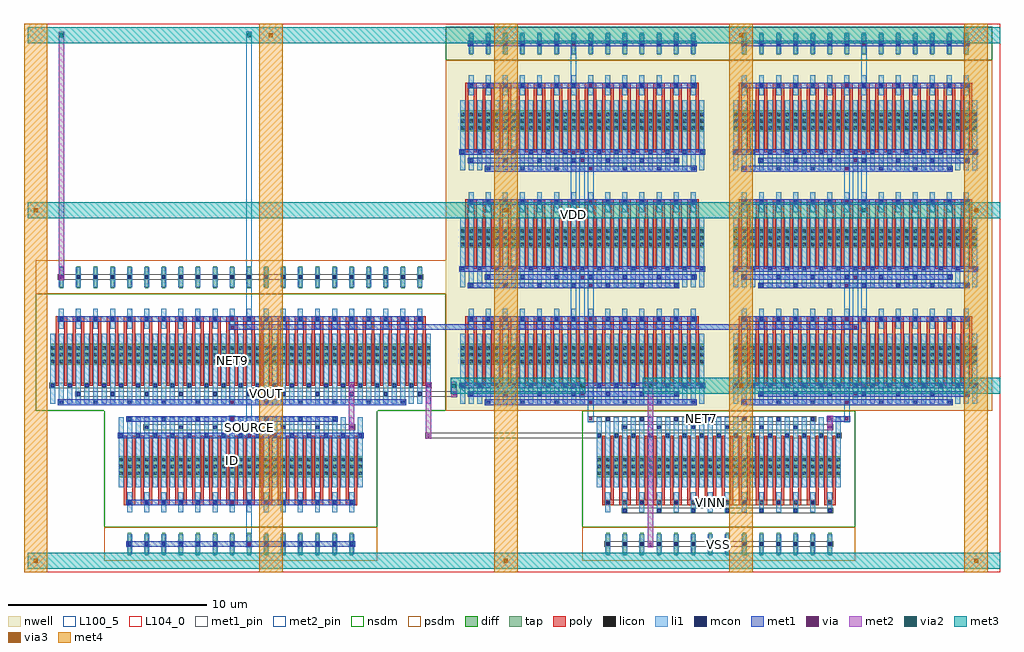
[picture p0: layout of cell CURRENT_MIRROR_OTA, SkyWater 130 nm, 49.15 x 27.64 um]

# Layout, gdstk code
import gdstk
lib = gdstk.Library(unit=1e-6, precision=1e-09)
def R(c, l, rs):  # rectangles x0, y0, x1, y1
    for r in rs: c.add(gdstk.rectangle(r[:2], r[2:], *l))
def A(c, l, x, y, w, h, nx, ny, dx, dy):  # array of equal rectangles
    R(c, l, [(x+i*dx, y+j*dy, x+i*dx+w, y+j*dy+h) for i in range(nx) for j in range(ny)])
nwell = (64, 20)
diff = (65, 20)
tap = (65, 44)
poly = (66, 20)
licon = (66, 44)
li1 = (67, 20)
mcon = (67, 44)
met1_pin = (68, 16)
met1 = (68, 20)
via = (68, 44)
met2_pin = (69, 16)
met2 = (69, 20)
via2 = (69, 44)
met3 = (70, 20)
via3 = (70, 44)
met4 = (71, 20)
nsdm = (93, 44)
psdm = (94, 20)
L100_5 = (100, 5)
L104_0 = (104, 0)

current_mirror_ota = lib.new_cell('CURRENT_MIRROR_OTA')
R(current_mirror_ota, nwell, [(20.64,7.56,34.4,26.88), (34.4,7.56,48.16,26.88)])
A(current_mirror_ota, diff, 21.375, 9.87, 12.29, 1.05, 1, 3, 0, 5.88)
A(current_mirror_ota, diff, 35.135, 9.87, 12.29, 1.05, 1, 3, 0, 5.88)
R(current_mirror_ota, diff, [(4.175,4.2,16.465,5.25), (28.255,4.2,40.545,5.25), (0.735,9.87,19.905,10.92)])
A(current_mirror_ota, tap, 4.645, 0.28, 0.17, 1.12, 14, 1, 0.86, 0)
A(current_mirror_ota, tap, 28.725, 0.28, 0.17, 1.12, 14, 1, 0.86, 0)
A(current_mirror_ota, tap, 1.205, 13.72, 0.17, 1.12, 22, 1, 0.86, 0)
A(current_mirror_ota, tap, 21.845, 25.48, 0.17, 1.12, 14, 1, 0.86, 0)
A(current_mirror_ota, tap, 35.605, 25.48, 0.17, 1.12, 14, 1, 0.86, 0)
A(current_mirror_ota, poly, 4.44, 2.805, 0.58, 0.27, 14, 1, 0.86, 0)
A(current_mirror_ota, poly, 28.52, 2.805, 0.58, 0.27, 14, 1, 0.86, 0)
A(current_mirror_ota, poly, 4.44, 2.94, 0.15, 3.36, 28, 1, 0.43, 0)
A(current_mirror_ota, poly, 28.52, 2.94, 0.15, 3.36, 28, 1, 0.43, 0)
A(current_mirror_ota, poly, 1, 8.82, 0.15, 3.36, 44, 1, 0.43, 0)
A(current_mirror_ota, poly, 21.64, 8.82, 0.15, 3.36, 28, 3, 0.43, 5.88)
A(current_mirror_ota, poly, 35.4, 8.82, 0.15, 3.36, 28, 3, 0.43, 5.88)
A(current_mirror_ota, poly, 1, 12.045, 0.58, 0.27, 22, 1, 0.86, 0)
A(current_mirror_ota, poly, 21.64, 12.045, 0.58, 0.27, 14, 3, 0.86, 5.88)
A(current_mirror_ota, poly, 35.4, 12.045, 0.58, 0.27, 14, 3, 0.86, 5.88)
A(current_mirror_ota, licon, 4.645, 0.755, 0.17, 0.17, 14, 2, 0.86, 2.1)
A(current_mirror_ota, licon, 28.725, 0.755, 0.17, 0.17, 14, 2, 0.86, 2.1)
A(current_mirror_ota, licon, 4.215, 4.32, 0.17, 0.17, 3, 3, 0.43, 0.34)
A(current_mirror_ota, licon, 5.075, 4.32, 0.17, 0.17, 3, 3, 0.43, 0.34)
A(current_mirror_ota, licon, 5.935, 4.32, 0.17, 0.17, 3, 3, 0.43, 0.34)
A(current_mirror_ota, licon, 6.795, 4.32, 0.17, 0.17, 3, 3, 0.43, 0.34)
A(current_mirror_ota, licon, 7.655, 4.32, 0.17, 0.17, 3, 3, 0.43, 0.34)
A(current_mirror_ota, licon, 8.515, 4.32, 0.17, 0.17, 3, 3, 0.43, 0.34)
A(current_mirror_ota, licon, 9.375, 4.32, 0.17, 0.17, 3, 3, 0.43, 0.34)
A(current_mirror_ota, licon, 10.235, 4.32, 0.17, 0.17, 3, 3, 0.43, 0.34)
A(current_mirror_ota, licon, 11.095, 4.32, 0.17, 0.17, 3, 3, 0.43, 0.34)
A(current_mirror_ota, licon, 11.955, 4.32, 0.17, 0.17, 3, 3, 0.43, 0.34)
A(current_mirror_ota, licon, 12.815, 4.32, 0.17, 0.17, 3, 3, 0.43, 0.34)
A(current_mirror_ota, licon, 13.675, 4.32, 0.17, 0.17, 3, 3, 0.43, 0.34)
A(current_mirror_ota, licon, 14.535, 4.32, 0.17, 0.17, 3, 3, 0.43, 0.34)
A(current_mirror_ota, licon, 15.395, 4.32, 0.17, 0.17, 3, 3, 0.43, 0.34)
A(current_mirror_ota, licon, 28.295, 4.32, 0.17, 0.17, 3, 3, 0.43, 0.34)
A(current_mirror_ota, licon, 29.155, 4.32, 0.17, 0.17, 3, 3, 0.43, 0.34)
A(current_mirror_ota, licon, 30.015, 4.32, 0.17, 0.17, 3, 3, 0.43, 0.34)
A(current_mirror_ota, licon, 30.875, 4.32, 0.17, 0.17, 3, 3, 0.43, 0.34)
A(current_mirror_ota, licon, 31.735, 4.32, 0.17, 0.17, 3, 3, 0.43, 0.34)
A(current_mirror_ota, licon, 32.595, 4.32, 0.17, 0.17, 3, 3, 0.43, 0.34)
A(current_mirror_ota, licon, 33.455, 4.32, 0.17, 0.17, 3, 3, 0.43, 0.34)
A(current_mirror_ota, licon, 34.315, 4.32, 0.17, 0.17, 3, 3, 0.43, 0.34)
A(current_mirror_ota, licon, 35.175, 4.32, 0.17, 0.17, 3, 3, 0.43, 0.34)
A(current_mirror_ota, licon, 36.035, 4.32, 0.17, 0.17, 3, 3, 0.43, 0.34)
A(current_mirror_ota, licon, 36.895, 4.32, 0.17, 0.17, 3, 3, 0.43, 0.34)
A(current_mirror_ota, licon, 37.755, 4.32, 0.17, 0.17, 3, 3, 0.43, 0.34)
A(current_mirror_ota, licon, 38.615, 4.32, 0.17, 0.17, 3, 3, 0.43, 0.34)
A(current_mirror_ota, licon, 39.475, 4.32, 0.17, 0.17, 3, 3, 0.43, 0.34)
A(current_mirror_ota, licon, 0.775, 9.95, 0.17, 0.17, 3, 3, 0.43, 0.34)
A(current_mirror_ota, licon, 1.635, 9.95, 0.17, 0.17, 3, 3, 0.43, 0.34)
A(current_mirror_ota, licon, 2.495, 9.95, 0.17, 0.17, 3, 3, 0.43, 0.34)
A(current_mirror_ota, licon, 3.355, 9.95, 0.17, 0.17, 3, 3, 0.43, 0.34)
A(current_mirror_ota, licon, 4.215, 9.95, 0.17, 0.17, 3, 3, 0.43, 0.34)
A(current_mirror_ota, licon, 5.075, 9.95, 0.17, 0.17, 3, 3, 0.43, 0.34)
A(current_mirror_ota, licon, 5.935, 9.95, 0.17, 0.17, 3, 3, 0.43, 0.34)
A(current_mirror_ota, licon, 6.795, 9.95, 0.17, 0.17, 3, 3, 0.43, 0.34)
A(current_mirror_ota, licon, 7.655, 9.95, 0.17, 0.17, 3, 3, 0.43, 0.34)
A(current_mirror_ota, licon, 8.515, 9.95, 0.17, 0.17, 3, 3, 0.43, 0.34)
A(current_mirror_ota, licon, 9.375, 9.95, 0.17, 0.17, 3, 3, 0.43, 0.34)
A(current_mirror_ota, licon, 10.235, 9.95, 0.17, 0.17, 3, 3, 0.43, 0.34)
A(current_mirror_ota, licon, 11.095, 9.95, 0.17, 0.17, 3, 3, 0.43, 0.34)
A(current_mirror_ota, licon, 11.955, 9.95, 0.17, 0.17, 3, 3, 0.43, 0.34)
A(current_mirror_ota, licon, 12.815, 9.95, 0.17, 0.17, 3, 3, 0.43, 0.34)
A(current_mirror_ota, licon, 13.675, 9.95, 0.17, 0.17, 3, 3, 0.43, 0.34)
A(current_mirror_ota, licon, 14.535, 9.95, 0.17, 0.17, 3, 3, 0.43, 0.34)
A(current_mirror_ota, licon, 15.395, 9.95, 0.17, 0.17, 3, 3, 0.43, 0.34)
A(current_mirror_ota, licon, 16.255, 9.95, 0.17, 0.17, 3, 3, 0.43, 0.34)
A(current_mirror_ota, licon, 17.115, 9.95, 0.17, 0.17, 3, 3, 0.43, 0.34)
A(current_mirror_ota, licon, 17.975, 9.95, 0.17, 0.17, 3, 3, 0.43, 0.34)
A(current_mirror_ota, licon, 18.835, 9.95, 0.17, 0.17, 3, 3, 0.43, 0.34)
A(current_mirror_ota, licon, 21.415, 9.95, 0.17, 0.17, 3, 3, 0.43, 0.34)
A(current_mirror_ota, licon, 22.275, 9.95, 0.17, 0.17, 3, 3, 0.43, 0.34)
A(current_mirror_ota, licon, 23.135, 9.95, 0.17, 0.17, 3, 3, 0.43, 0.34)
A(current_mirror_ota, licon, 23.995, 9.95, 0.17, 0.17, 3, 3, 0.43, 0.34)
A(current_mirror_ota, licon, 24.855, 9.95, 0.17, 0.17, 3, 3, 0.43, 0.34)
A(current_mirror_ota, licon, 25.715, 9.95, 0.17, 0.17, 3, 3, 0.43, 0.34)
A(current_mirror_ota, licon, 26.575, 9.95, 0.17, 0.17, 3, 3, 0.43, 0.34)
A(current_mirror_ota, licon, 27.435, 9.95, 0.17, 0.17, 3, 3, 0.43, 0.34)
A(current_mirror_ota, licon, 28.295, 9.95, 0.17, 0.17, 3, 3, 0.43, 0.34)
A(current_mirror_ota, licon, 29.155, 9.95, 0.17, 0.17, 3, 3, 0.43, 0.34)
A(current_mirror_ota, licon, 30.015, 9.95, 0.17, 0.17, 3, 3, 0.43, 0.34)
A(current_mirror_ota, licon, 30.875, 9.95, 0.17, 0.17, 3, 3, 0.43, 0.34)
A(current_mirror_ota, licon, 31.735, 9.95, 0.17, 0.17, 3, 3, 0.43, 0.34)
A(current_mirror_ota, licon, 32.595, 9.95, 0.17, 0.17, 3, 3, 0.43, 0.34)
A(current_mirror_ota, licon, 35.175, 9.95, 0.17, 0.17, 3, 3, 0.43, 0.34)
A(current_mirror_ota, licon, 36.035, 9.95, 0.17, 0.17, 3, 3, 0.43, 0.34)
A(current_mirror_ota, licon, 36.895, 9.95, 0.17, 0.17, 3, 3, 0.43, 0.34)
A(current_mirror_ota, licon, 37.755, 9.95, 0.17, 0.17, 3, 3, 0.43, 0.34)
A(current_mirror_ota, licon, 38.615, 9.95, 0.17, 0.17, 3, 3, 0.43, 0.34)
A(current_mirror_ota, licon, 39.475, 9.95, 0.17, 0.17, 3, 3, 0.43, 0.34)
A(current_mirror_ota, licon, 40.335, 9.95, 0.17, 0.17, 3, 3, 0.43, 0.34)
A(current_mirror_ota, licon, 41.195, 9.95, 0.17, 0.17, 3, 3, 0.43, 0.34)
A(current_mirror_ota, licon, 42.055, 9.95, 0.17, 0.17, 3, 3, 0.43, 0.34)
A(current_mirror_ota, licon, 42.915, 9.95, 0.17, 0.17, 3, 3, 0.43, 0.34)
A(current_mirror_ota, licon, 43.775, 9.95, 0.17, 0.17, 3, 3, 0.43, 0.34)
A(current_mirror_ota, licon, 44.635, 9.95, 0.17, 0.17, 3, 3, 0.43, 0.34)
A(current_mirror_ota, licon, 45.495, 9.95, 0.17, 0.17, 3, 3, 0.43, 0.34)
A(current_mirror_ota, licon, 46.355, 9.95, 0.17, 0.17, 3, 3, 0.43, 0.34)
A(current_mirror_ota, licon, 1.205, 12.095, 0.17, 0.17, 22, 2, 0.86, 2.1)
A(current_mirror_ota, licon, 21.845, 12.095, 0.17, 0.17, 14, 3, 0.86, 5.88)
A(current_mirror_ota, licon, 35.605, 12.095, 0.17, 0.17, 14, 3, 0.86, 5.88)
A(current_mirror_ota, licon, 21.415, 15.83, 0.17, 0.17, 3, 3, 0.43, 0.34)
A(current_mirror_ota, licon, 22.275, 15.83, 0.17, 0.17, 3, 3, 0.43, 0.34)
A(current_mirror_ota, licon, 23.135, 15.83, 0.17, 0.17, 3, 3, 0.43, 0.34)
A(current_mirror_ota, licon, 23.995, 15.83, 0.17, 0.17, 3, 3, 0.43, 0.34)
A(current_mirror_ota, licon, 24.855, 15.83, 0.17, 0.17, 3, 3, 0.43, 0.34)
A(current_mirror_ota, licon, 25.715, 15.83, 0.17, 0.17, 3, 3, 0.43, 0.34)
A(current_mirror_ota, licon, 26.575, 15.83, 0.17, 0.17, 3, 3, 0.43, 0.34)
A(current_mirror_ota, licon, 27.435, 15.83, 0.17, 0.17, 3, 3, 0.43, 0.34)
A(current_mirror_ota, licon, 28.295, 15.83, 0.17, 0.17, 3, 3, 0.43, 0.34)
A(current_mirror_ota, licon, 29.155, 15.83, 0.17, 0.17, 3, 3, 0.43, 0.34)
A(current_mirror_ota, licon, 30.015, 15.83, 0.17, 0.17, 3, 3, 0.43, 0.34)
A(current_mirror_ota, licon, 30.875, 15.83, 0.17, 0.17, 3, 3, 0.43, 0.34)
A(current_mirror_ota, licon, 31.735, 15.83, 0.17, 0.17, 3, 3, 0.43, 0.34)
A(current_mirror_ota, licon, 32.595, 15.83, 0.17, 0.17, 3, 3, 0.43, 0.34)
A(current_mirror_ota, licon, 35.175, 15.83, 0.17, 0.17, 3, 3, 0.43, 0.34)
A(current_mirror_ota, licon, 36.035, 15.83, 0.17, 0.17, 3, 3, 0.43, 0.34)
A(current_mirror_ota, licon, 36.895, 15.83, 0.17, 0.17, 3, 3, 0.43, 0.34)
A(current_mirror_ota, licon, 37.755, 15.83, 0.17, 0.17, 3, 3, 0.43, 0.34)
A(current_mirror_ota, licon, 38.615, 15.83, 0.17, 0.17, 3, 3, 0.43, 0.34)
A(current_mirror_ota, licon, 39.475, 15.83, 0.17, 0.17, 3, 3, 0.43, 0.34)
A(current_mirror_ota, licon, 40.335, 15.83, 0.17, 0.17, 3, 3, 0.43, 0.34)
A(current_mirror_ota, licon, 41.195, 15.83, 0.17, 0.17, 3, 3, 0.43, 0.34)
A(current_mirror_ota, licon, 42.055, 15.83, 0.17, 0.17, 3, 3, 0.43, 0.34)
A(current_mirror_ota, licon, 42.915, 15.83, 0.17, 0.17, 3, 3, 0.43, 0.34)
A(current_mirror_ota, licon, 43.775, 15.83, 0.17, 0.17, 3, 3, 0.43, 0.34)
A(current_mirror_ota, licon, 44.635, 15.83, 0.17, 0.17, 3, 3, 0.43, 0.34)
A(current_mirror_ota, licon, 45.495, 15.83, 0.17, 0.17, 3, 3, 0.43, 0.34)
A(current_mirror_ota, licon, 46.355, 15.83, 0.17, 0.17, 3, 3, 0.43, 0.34)
A(current_mirror_ota, licon, 21.415, 21.71, 0.17, 0.17, 3, 3, 0.43, 0.34)
A(current_mirror_ota, licon, 22.275, 21.71, 0.17, 0.17, 3, 3, 0.43, 0.34)
A(current_mirror_ota, licon, 23.135, 21.71, 0.17, 0.17, 3, 3, 0.43, 0.34)
A(current_mirror_ota, licon, 23.995, 21.71, 0.17, 0.17, 3, 3, 0.43, 0.34)
A(current_mirror_ota, licon, 24.855, 21.71, 0.17, 0.17, 3, 3, 0.43, 0.34)
A(current_mirror_ota, licon, 25.715, 21.71, 0.17, 0.17, 3, 3, 0.43, 0.34)
A(current_mirror_ota, licon, 26.575, 21.71, 0.17, 0.17, 3, 3, 0.43, 0.34)
A(current_mirror_ota, licon, 27.435, 21.71, 0.17, 0.17, 3, 3, 0.43, 0.34)
A(current_mirror_ota, licon, 28.295, 21.71, 0.17, 0.17, 3, 3, 0.43, 0.34)
A(current_mirror_ota, licon, 29.155, 21.71, 0.17, 0.17, 3, 3, 0.43, 0.34)
A(current_mirror_ota, licon, 30.015, 21.71, 0.17, 0.17, 3, 3, 0.43, 0.34)
A(current_mirror_ota, licon, 30.875, 21.71, 0.17, 0.17, 3, 3, 0.43, 0.34)
A(current_mirror_ota, licon, 31.735, 21.71, 0.17, 0.17, 3, 3, 0.43, 0.34)
A(current_mirror_ota, licon, 32.595, 21.71, 0.17, 0.17, 3, 3, 0.43, 0.34)
A(current_mirror_ota, licon, 35.175, 21.71, 0.17, 0.17, 3, 3, 0.43, 0.34)
A(current_mirror_ota, licon, 36.035, 21.71, 0.17, 0.17, 3, 3, 0.43, 0.34)
A(current_mirror_ota, licon, 36.895, 21.71, 0.17, 0.17, 3, 3, 0.43, 0.34)
A(current_mirror_ota, licon, 37.755, 21.71, 0.17, 0.17, 3, 3, 0.43, 0.34)
A(current_mirror_ota, licon, 38.615, 21.71, 0.17, 0.17, 3, 3, 0.43, 0.34)
A(current_mirror_ota, licon, 39.475, 21.71, 0.17, 0.17, 3, 3, 0.43, 0.34)
A(current_mirror_ota, licon, 40.335, 21.71, 0.17, 0.17, 3, 3, 0.43, 0.34)
A(current_mirror_ota, licon, 41.195, 21.71, 0.17, 0.17, 3, 3, 0.43, 0.34)
A(current_mirror_ota, licon, 42.055, 21.71, 0.17, 0.17, 3, 3, 0.43, 0.34)
A(current_mirror_ota, licon, 42.915, 21.71, 0.17, 0.17, 3, 3, 0.43, 0.34)
A(current_mirror_ota, licon, 43.775, 21.71, 0.17, 0.17, 3, 3, 0.43, 0.34)
A(current_mirror_ota, licon, 44.635, 21.71, 0.17, 0.17, 3, 3, 0.43, 0.34)
A(current_mirror_ota, licon, 45.495, 21.71, 0.17, 0.17, 3, 3, 0.43, 0.34)
A(current_mirror_ota, licon, 46.355, 21.71, 0.17, 0.17, 3, 3, 0.43, 0.34)
R(current_mirror_ota, licon, [(21.845,25.955,22.015,26.125), (21.845,25.955,22.015,26.125), (21.845,25.955,22.015,26.125), (22.705,25.955,22.875,26.125), (22.705,25.955,22.875,26.125), (22.705,25.955,22.875,26.125), (23.565,25.955,23.735,26.125), (23.565,25.955,23.735,26.125), (23.565,25.955,23.735,26.125), (24.425,25.955,24.595,26.125), (24.425,25.955,24.595,26.125), (24.425,25.955,24.595,26.125), (25.285,25.955,25.455,26.125), (25.285,25.955,25.455,26.125), (25.285,25.955,25.455,26.125), (26.145,25.955,26.315,26.125), (26.145,25.955,26.315,26.125), (26.145,25.955,26.315,26.125), (27.005,25.955,27.175,26.125), (27.005,25.955,27.175,26.125), (27.005,25.955,27.175,26.125), (27.865,25.955,28.035,26.125), (27.865,25.955,28.035,26.125), (27.865,25.955,28.035,26.125), (28.725,25.955,28.895,26.125), (28.725,25.955,28.895,26.125), (28.725,25.955,28.895,26.125), (29.585,25.955,29.755,26.125), (29.585,25.955,29.755,26.125), (29.585,25.955,29.755,26.125), (30.445,25.955,30.615,26.125), (30.445,25.955,30.615,26.125), (30.445,25.955,30.615,26.125), (31.305,25.955,31.475,26.125), (31.305,25.955,31.475,26.125), (31.305,25.955,31.475,26.125), (32.165,25.955,32.335,26.125), (32.165,25.955,32.335,26.125), (32.165,25.955,32.335,26.125), (33.025,25.955,33.195,26.125), (33.025,25.955,33.195,26.125), (33.025,25.955,33.195,26.125), (35.605,25.955,35.775,26.125), (35.605,25.955,35.775,26.125), (35.605,25.955,35.775,26.125), (36.465,25.955,36.635,26.125), (36.465,25.955,36.635,26.125), (36.465,25.955,36.635,26.125), (37.325,25.955,37.495,26.125), (37.325,25.955,37.495,26.125), (37.325,25.955,37.495,26.125), (38.185,25.955,38.355,26.125), (38.185,25.955,38.355,26.125), (38.185,25.955,38.355,26.125), (39.045,25.955,39.215,26.125), (39.045,25.955,39.215,26.125), (39.045,25.955,39.215,26.125), (39.905,25.955,40.075,26.125), (39.905,25.955,40.075,26.125), (39.905,25.955,40.075,26.125), (40.765,25.955,40.935,26.125), (40.765,25.955,40.935,26.125), (40.765,25.955,40.935,26.125), (41.625,25.955,41.795,26.125), (41.625,25.955,41.795,26.125), (41.625,25.955,41.795,26.125), (42.485,25.955,42.655,26.125), (42.485,25.955,42.655,26.125), (42.485,25.955,42.655,26.125), (43.345,25.955,43.515,26.125), (43.345,25.955,43.515,26.125), (43.345,25.955,43.515,26.125), (44.205,25.955,44.375,26.125), (44.205,25.955,44.375,26.125), (44.205,25.955,44.375,26.125), (45.065,25.955,45.235,26.125), (45.065,25.955,45.235,26.125), (45.065,25.955,45.235,26.125), (45.925,25.955,46.095,26.125), (45.925,25.955,46.095,26.125), (45.925,25.955,46.095,26.125), (46.785,25.955,46.955,26.125), (46.785,25.955,46.955,26.125), (46.785,25.955,46.955,26.125)])
A(current_mirror_ota, li1, 4.605, 0.335, 0.25, 1.01, 14, 2, 0.86, 2.1)
A(current_mirror_ota, li1, 28.685, 0.335, 0.25, 1.01, 14, 2, 0.86, 2.1)
A(current_mirror_ota, li1, 4.175, 3.695, 0.25, 3.53, 29, 1, 0.43, 0)
A(current_mirror_ota, li1, 28.255, 3.695, 0.25, 3.53, 29, 1, 0.43, 0)
A(current_mirror_ota, li1, 0.735, 7.895, 0.25, 3.53, 45, 1, 0.43, 0)
A(current_mirror_ota, li1, 21.375, 7.895, 0.25, 3.53, 29, 3, 0.43, 5.88)
A(current_mirror_ota, li1, 35.135, 7.895, 0.25, 3.53, 29, 3, 0.43, 5.88)
A(current_mirror_ota, li1, 1.165, 11.675, 0.25, 1.01, 22, 2, 0.86, 2.1)
A(current_mirror_ota, li1, 21.805, 11.675, 0.25, 1.01, 14, 3, 0.86, 5.88)
A(current_mirror_ota, li1, 35.565, 11.675, 0.25, 1.01, 14, 3, 0.86, 5.88)
A(current_mirror_ota, li1, 21.805, 25.535, 0.25, 1.01, 14, 1, 0.86, 0)
A(current_mirror_ota, li1, 35.565, 25.535, 0.25, 1.01, 14, 1, 0.86, 0)
A(current_mirror_ota, mcon, 4.645, 0.755, 0.17, 0.17, 14, 2, 0.86, 2.1)
A(current_mirror_ota, mcon, 28.725, 0.755, 0.17, 0.17, 14, 1, 0.86, 0)
A(current_mirror_ota, mcon, 29.585, 2.435, 0.17, 0.17, 7, 2, 1.72, 4.2)
A(current_mirror_ota, mcon, 28.725, 2.855, 0.17, 0.17, 7, 2, 1.72, 4.2)
A(current_mirror_ota, mcon, 4.215, 6.215, 0.17, 0.17, 15, 1, 0.86, 0)
A(current_mirror_ota, mcon, 28.295, 6.215, 0.17, 0.17, 15, 1, 0.86, 0)
A(current_mirror_ota, mcon, 5.505, 6.635, 0.17, 0.17, 7, 1, 1.72, 0)
A(current_mirror_ota, mcon, 4.645, 7.055, 0.17, 0.17, 7, 1, 1.72, 0)
A(current_mirror_ota, mcon, 1.205, 7.895, 0.17, 0.17, 11, 1, 1.72, 0)
A(current_mirror_ota, mcon, 22.705, 7.895, 0.17, 0.17, 7, 2, 1.72, 6.3)
A(current_mirror_ota, mcon, 35.605, 7.895, 0.17, 0.17, 7, 2, 1.72, 6.3)
A(current_mirror_ota, mcon, 2.065, 8.315, 0.17, 0.17, 11, 1, 1.72, 0)
A(current_mirror_ota, mcon, 21.845, 8.315, 0.17, 0.17, 7, 2, 1.72, 5.46)
A(current_mirror_ota, mcon, 36.465, 8.315, 0.17, 0.17, 7, 2, 1.72, 5.46)
A(current_mirror_ota, mcon, 0.775, 8.735, 0.17, 0.17, 23, 1, 0.86, 0)
A(current_mirror_ota, mcon, 21.415, 8.735, 0.17, 0.17, 15, 3, 0.86, 5.88)
A(current_mirror_ota, mcon, 35.175, 8.735, 0.17, 0.17, 15, 3, 0.86, 5.88)
A(current_mirror_ota, mcon, 1.205, 12.095, 0.17, 0.17, 22, 2, 0.86, 2.1)
A(current_mirror_ota, mcon, 21.845, 12.095, 0.17, 0.17, 14, 3, 0.86, 5.88)
A(current_mirror_ota, mcon, 35.605, 12.095, 0.17, 0.17, 14, 3, 0.86, 5.88)
A(current_mirror_ota, mcon, 22.705, 19.655, 0.17, 0.17, 7, 1, 1.72, 0)
A(current_mirror_ota, mcon, 35.605, 19.655, 0.17, 0.17, 7, 1, 1.72, 0)
A(current_mirror_ota, mcon, 21.845, 20.075, 0.17, 0.17, 7, 1, 1.72, 0)
A(current_mirror_ota, mcon, 36.465, 20.075, 0.17, 0.17, 7, 1, 1.72, 0)
A(current_mirror_ota, mcon, 21.845, 25.955, 0.17, 0.17, 14, 1, 0.86, 0)
A(current_mirror_ota, mcon, 35.605, 25.955, 0.17, 0.17, 14, 1, 0.86, 0)
R(current_mirror_ota, met1_pin, [(28.64,0.7,40.16,0.98), (29.5,2.38,40.16,2.66), (28.64,2.8,39.3,3.08), (19.62,6.16,40.59,6.44), (5.42,6.58,16.08,6.86), (29.5,6.58,40.16,6.86), (27.79,7,39.3,7.28), (1.98,8.26,21.23,8.54), (0.69,8.68,19.95,8.96), (1.12,14.14,19.52,14.42)])
A(current_mirror_ota, met1, 21.33, 8.68, 12.38, 0.28, 1, 3, 0, 5.88)
A(current_mirror_ota, met1, 35.09, 8.68, 12.38, 0.28, 1, 3, 0, 5.88)
A(current_mirror_ota, met1, 21.76, 12.04, 11.52, 0.28, 1, 3, 0, 5.88)
A(current_mirror_ota, met1, 35.52, 12.04, 11.52, 0.28, 1, 3, 0, 5.88)
R(current_mirror_ota, met1, [(4.56,0.7,16.08,0.98), (4.56,2.8,16.08,3.08), (4.13,6.16,16.51,6.44), (4.56,7,15.22,7.28), (39.83,7,41.01,7.28), (1.12,7.84,18.66,8.12), (22.62,7.84,33.28,8.12), (35.52,7.84,46.18,8.12), (21.76,8.26,32.42,8.54), (36.38,8.26,47.04,8.54), (9.73,11.62,41.44,11.9), (1.12,12.04,19.52,12.32), (21.76,13.72,32.42,14), (36.38,13.72,47.04,14), (22.62,14.14,33.28,14.42), (35.52,14.14,46.18,14.42), (22.62,19.6,33.28,19.88), (35.52,19.6,46.18,19.88), (21.76,20.02,32.42,20.3), (36.38,20.02,47.04,20.3), (21.76,25.9,33.28,26.18), (35.52,25.9,47.04,26.18)])
A(current_mirror_ota, via, 27.445, 8.325, 0.15, 0.15, 1, 3, 0, 5.88)
A(current_mirror_ota, via, 27.015, 8.745, 0.15, 0.15, 1, 3, 0, 5.88)
A(current_mirror_ota, via, 41.635, 8.745, 0.15, 0.15, 1, 3, 0, 5.88)
R(current_mirror_ota, via, [(10.675,0.765,10.825,0.915), (30.885,0.765,31.035,0.915), (9.815,2.865,9.965,3.015), (10.675,6.225,10.825,6.375), (19.705,6.225,19.855,6.375), (15.835,6.645,15.985,6.795), (39.915,6.645,40.065,6.795), (9.815,7.065,9.965,7.215), (27.875,7.065,28.025,7.215), (39.915,7.065,40.065,7.215), (40.775,7.065,40.925,7.215), (9.815,7.905,9.965,8.055), (27.875,7.905,28.025,8.055), (40.775,7.905,40.925,8.055), (20.995,8.325,21.145,8.475), (41.205,8.325,41.355,8.475), (15.835,8.745,15.985,8.895), (19.705,8.745,19.855,8.895), (9.815,11.685,9.965,11.835), (41.205,11.685,41.355,11.835), (9.815,12.105,9.965,12.255), (27.875,12.105,28.025,12.255), (40.775,12.105,40.925,12.255), (27.875,13.785,28.025,13.935), (40.775,13.785,40.925,13.935), (1.215,14.205,1.365,14.355), (41.205,14.205,41.355,14.355), (27.875,17.985,28.025,18.135), (40.775,17.985,40.925,18.135), (27.875,19.665,28.025,19.815), (40.775,19.665,40.925,19.815), (41.205,20.085,41.355,20.235), (27.875,23.865,28.025,24.015), (40.775,23.865,40.925,24.015), (27.015,25.965,27.165,26.115), (41.635,25.965,41.785,26.115)])
R(current_mirror_ota, met2_pin, [(10.61,0.68,10.89,26.645), (9.75,2.78,10.03,7.3), (27.81,6.98,28.09,24.1), (40.71,6.98,40.99,24.1), (9.75,7.82,10.03,12.34), (27.38,8.24,27.66,20.32), (41.14,8.24,41.42,20.32), (26.95,8.66,27.23,26.2), (41.57,8.66,41.85,26.2)])
R(current_mirror_ota, met2, [(30.82,0.68,31.1,9.005), (19.64,6.14,19.92,8.98), (15.77,6.56,16.05,8.98), (39.85,6.56,40.13,7.3), (20.93,8.24,21.21,9.005), (1.15,14.12,1.43,26.645)])
R(current_mirror_ota, via2, [(20.97,8.72,21.17,8.92), (27.42,8.72,27.62,8.92), (30.86,8.72,31.06,8.92), (26.99,17.54,27.19,17.74), (41.61,17.54,41.81,17.74), (1.19,26.36,1.39,26.56), (10.65,26.36,10.85,26.56)])
R(current_mirror_ota, met3, [(-0.4,-0.4,48.56,0.4), (20.905,8.42,27.685,9.22), (30.56,8.42,48.56,9.22), (-0.4,17.24,48.56,18.04), (-0.4,26.06,48.56,26.86)])
A(current_mirror_ota, via3, -0.1, -0.1, 0.2, 0.2, 3, 2, 23.68, 17.64)
R(current_mirror_ota, via3, [(35.42,8.72,35.62,8.92), (11.74,26.36,11.94,26.56), (35.42,26.36,35.62,26.56)])
A(current_mirror_ota, met4, -0.59, -0.59, 1.18, 27.64, 5, 1, 11.84, 0)
R(current_mirror_ota, nsdm, [(3.44,1.68,17.2,7.56), (27.52,1.68,41.28,7.56), (0,7.56,20.64,13.44), (20.64,25.2,34.4,26.88), (34.4,25.2,48.16,26.88)])
R(current_mirror_ota, psdm, [(3.44,0,17.2,1.68), (27.52,0,41.28,1.68), (20.64,7.56,34.4,25.2), (34.4,7.56,48.16,25.2), (0,13.44,20.64,15.12)])
R(current_mirror_ota, L100_5, [(-0.59,-0.59,48.56,27.05)])
R(current_mirror_ota, L104_0, [(-0.59,-0.59,48.56,27.05)])
current_mirror_ota.add(gdstk.Label('NET7', (33.545,7.14), layer=68, texttype=5))
current_mirror_ota.add(gdstk.Label('VINN', (33.97,2.94), layer=68, texttype=5))
current_mirror_ota.add(gdstk.Label('SOURCE', (10.75,6.72), layer=68, texttype=5))
current_mirror_ota.add(gdstk.Label('NET8', (34.83,6.72), layer=68, texttype=5))
current_mirror_ota.add(gdstk.Label('VSS', (34.4,0.84), layer=68, texttype=5))
current_mirror_ota.add(gdstk.Label('VOUT', (11.605,8.4), layer=68, texttype=5))
current_mirror_ota.add(gdstk.Label('VINP', (34.83,2.52), layer=68, texttype=5))
current_mirror_ota.add(gdstk.Label('ID', (9.89,5.04), layer=69, texttype=5))
current_mirror_ota.add(gdstk.Label('NET9', (9.89,10.08), layer=69, texttype=5))
current_mirror_ota.add(gdstk.Label('VDD', (27.09,17.43), layer=69, texttype=5))

lib.write_gds('CURRENT_MIRROR_OTA.gds')
